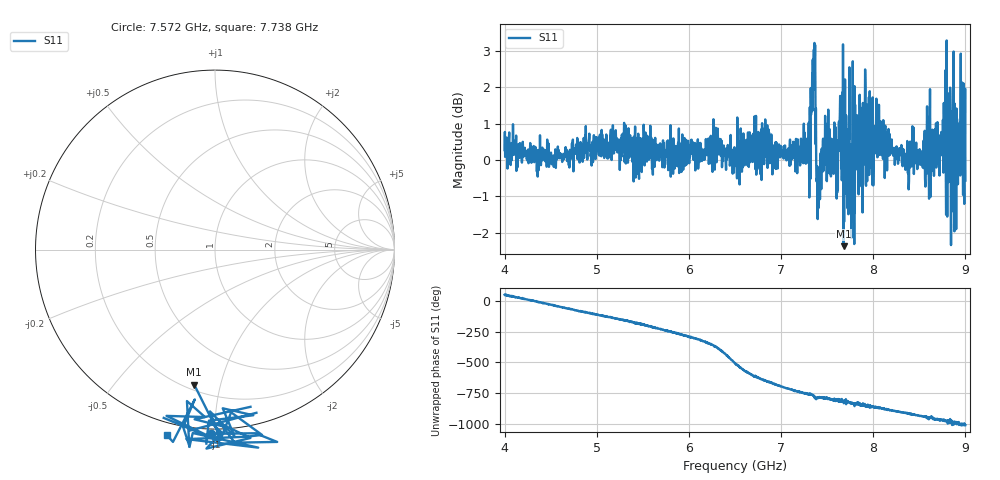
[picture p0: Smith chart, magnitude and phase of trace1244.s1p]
! Created with skrf 1.8.0 (http://scikit-rf.org).
# Hz S RI R 50.0
!freq ReS11 ImS11
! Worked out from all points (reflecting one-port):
!   1601 points, 4 GHz to 9 GHz, reference 50 ohm
!   lowest |S11| = -2.4 dB at 7.678 GHz (marker M1), VSWR 7.38, Z = 11.6 - j41.5 ohm
!   phase of S11 starts at 49 deg and turns -1056 deg over the sweep
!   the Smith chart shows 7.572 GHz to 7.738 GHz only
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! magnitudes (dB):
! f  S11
! 4 GHz  0.3
! 4.625 GHz  -0.1
! 5.25 GHz  -0.3
! 5.875 GHz  0.4
! 6.331 GHz  0.3
! 6.5 GHz  0.0
! 6.819 GHz  0.4
! 6.922 GHz  0.0
! 7.125 GHz  0.1
! 7.294 GHz  -0.1
! 7.347 GHz  1.9
! 7.369 GHz  3.2
! 7.397 GHz  -1.6
! 7.409 GHz  -1.3
! 7.466 GHz  0.2
! 7.591 GHz  0.9
! 7.647 GHz  1.2
! 7.678 GHz  -2.4
! 7.75 GHz  -0.3
! 7.769 GHz  -0.2
! 7.891 GHz  -0.1
! 8.375 GHz  -0.4
! 8.444 GHz  0.1
! 8.709 GHz  0.0
! 8.816 GHz  0.6
! 8.869 GHz  -1.3
! 8.972 GHz  0.4
! 9 GHz  -0.6
